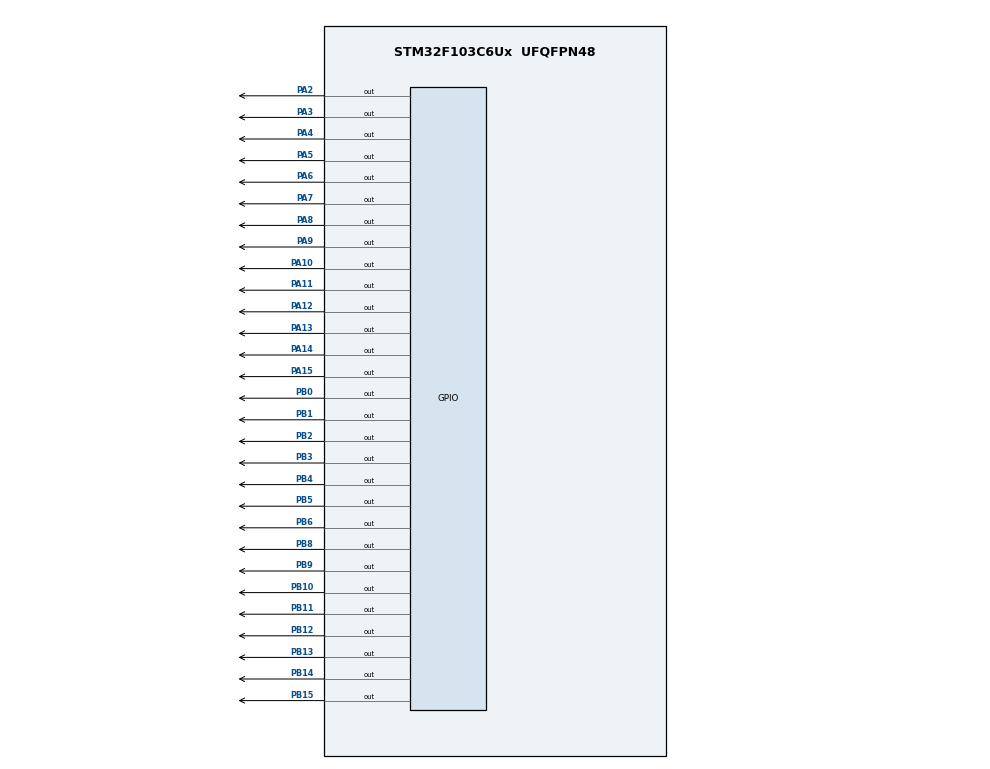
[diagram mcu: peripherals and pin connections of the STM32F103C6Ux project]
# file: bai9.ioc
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Mcu.Family=STM32F1
Mcu.Name=STM32F103C6Ux
Mcu.Package=UFQFPN48
NVIC.PriorityGroup=NVIC_PRIORITYGROUP_4
NVIC.TIM2_IRQn=true\:0\:0\:false\:false\:true\:true\:true
PA10.Signal=GPIO_Output
PA11.Signal=GPIO_Output
PA12.Signal=GPIO_Output
PA13.Signal=GPIO_Output
PA14.Signal=GPIO_Output
PA15.Signal=GPIO_Output
PA2.Signal=GPIO_Output
PA3.Signal=GPIO_Output
PA4.Signal=GPIO_Output
PA5.Signal=GPIO_Output
PA6.Signal=GPIO_Output
PA7.Signal=GPIO_Output
PA8.Signal=GPIO_Output
PA9.Signal=GPIO_Output
PB0.Signal=GPIO_Output
PB1.Signal=GPIO_Output
PB10.Signal=GPIO_Output
PB11.Signal=GPIO_Output
PB12.Signal=GPIO_Output
PB13.Signal=GPIO_Output
PB14.Signal=GPIO_Output
PB15.Signal=GPIO_Output
PB2.Signal=GPIO_Output
PB3.Signal=GPIO_Output
PB4.Signal=GPIO_Output
PB5.Signal=GPIO_Output
PB6.Signal=GPIO_Output
PB8.Signal=GPIO_Output
PB9.Signal=GPIO_Output
ProjectManager.HeapSize=0x200
ProjectManager.StackSize=0x400
ProjectManager.TargetToolchain=STM32CubeIDE
RCC.APB1Freq_Value=8000000
RCC.APB2Freq_Value=8000000
TIM2.Period=9
TIM2.Prescaler=7999
VP_SYS_VS_ND.Mode=No_Debug
VP_TIM2_VS_ClockSourceINT.Mode=Internal
board=custom

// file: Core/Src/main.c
/* USER CODE BEGIN Header */
/**
  ******************************************************************************
  * @file           : main.c
  * @brief          : Main program body
  ******************************************************************************
  * @attention
  *
  * <h2><center>&copy; Copyright (c) 2026 STMicroelectronics.
  * All rights reserved.</center></h2>
  *
  * This software component is licensed by ST under BSD 3-Clause license,
  * the "License"; You may not use this file except in compliance with the
  * License. You may obtain a copy of the License at:
  *                        opensource.org/licenses/BSD-3-Clause
  *
  ******************************************************************************
  */
/* USER CODE END Header */
#include "main.h"

TIM_HandleTypeDef htim2;

void SystemClock_Config(void);
static void MX_GPIO_Init(void);
static void MX_TIM2_Init(void);

/* USER CODE BEGIN 0 */
const int MAX_LED_MATRIX = 8;

int index_led_matrix = 0;

uint8_t matrix_buffer[8] = {
		 0x00,
		 0x42,
		 0x42,
		 0x42,
		 0x7E,
		 0x42,
		 0x42,
		 0x3C
};

uint8_t matrix_A[8] = {
    0x00,
    0x42,
    0x42,
    0x42,
    0x7E,
    0x42,
    0x42,
    0x3C
};

uint16_t EN_PINS[8] = {
    GPIO_PIN_2,   // ENM0
    GPIO_PIN_3,   // ENM1
    GPIO_PIN_10,  // ENM2
    GPIO_PIN_11,  // ENM3
    GPIO_PIN_12,  // ENM4
    GPIO_PIN_13,  // ENM5
    GPIO_PIN_14,  // ENM6
    GPIO_PIN_15   // ENM7
};

void setRows(uint8_t data)
{
    HAL_GPIO_WritePin(GPIOB, GPIO_PIN_8,
        (data & 0x01) ? GPIO_PIN_SET : GPIO_PIN_RESET);

    HAL_GPIO_WritePin(GPIOB, GPIO_PIN_9,
        (data & 0x02) ? GPIO_PIN_SET : GPIO_PIN_RESET);

    HAL_GPIO_WritePin(GPIOB, GPIO_PIN_10,
        (data & 0x04) ? GPIO_PIN_SET : GPIO_PIN_RESET);

    HAL_GPIO_WritePin(GPIOB, GPIO_PIN_11,
        (data & 0x08) ? GPIO_PIN_SET : GPIO_PIN_RESET);

    HAL_GPIO_WritePin(GPIOB, GPIO_PIN_12,
        (data & 0x10) ? GPIO_PIN_SET : GPIO_PIN_RESET);

    HAL_GPIO_WritePin(GPIOB, GPIO_PIN_13,
        (data & 0x20) ? GPIO_PIN_SET : GPIO_PIN_RESET);

    HAL_GPIO_WritePin(GPIOB, GPIO_PIN_14,
        (data & 0x40) ? GPIO_PIN_SET : GPIO_PIN_RESET);

    HAL_GPIO_WritePin(GPIOB, GPIO_PIN_15,
        (data & 0x80) ? GPIO_PIN_SET : GPIO_PIN_RESET);
}

void updateLEDMatrix(int index)
{
    // Turn off all columns
    for (int i = 0; i < 8; i++)
    {
        HAL_GPIO_WritePin(GPIOA, EN_PINS[i], GPIO_PIN_RESET);
    }

    // Output data to ROW0 - ROW7
    GPIOB->ODR = (GPIOB->ODR & 0x00FF)
               | ((uint16_t)matrix_buffer[index] << 8);

    // Enable selected column
    HAL_GPIO_WritePin(GPIOA, EN_PINS[index], GPIO_PIN_SET);
}
/* USER CODE END 0 */

int main(void)
{

  /* MCU Configuration--------------------------------------------------------*/

  /* Reset of all peripherals, Initializes the Flash interface and the Systick. */
  HAL_Init();

  /* Configure the system clock */
  SystemClock_Config();

  /* Initialize all configured peripherals */
  MX_GPIO_Init();
  MX_TIM2_Init();

  /* Infinite loop */
  /* USER CODE BEGIN WHILE */
  while (1)
  {
	  for (int shift = 0; shift <= 6; shift++)
	      {
	          // Tạo frame hiện tại
	          for (int col = 0; col < 8; col++)
	          {
	        	  matrix_buffer[col] = matrix_A[col] << shift;
	          }

	          // Hiển thị frame trong một khoảng thời gian
	          uint32_t start = HAL_GetTick();

	          while (HAL_GetTick() - start < 150)
	          {
	              updateLEDMatrix(index_led_matrix);

	              HAL_Delay(2);

	              index_led_matrix++;

	              if (index_led_matrix >= 8)
	              {
	                  index_led_matrix = 0;
	              }
	          }
	      }
    /* USER CODE END WHILE */

  }
}

void SystemClock_Config(void)
{
  RCC_OscInitTypeDef RCC_OscInitStruct = {0};
  RCC_ClkInitTypeDef RCC_ClkInitStruct = {0};

  /** Initializes the RCC Oscillators according to the specified parameters
  * in the RCC_OscInitTypeDef structure.
  */
  RCC_OscInitStruct.OscillatorType = RCC_OSCILLATORTYPE_HSI;
  RCC_OscInitStruct.HSIState = RCC_HSI_ON;
  RCC_OscInitStruct.HSICalibrationValue = RCC_HSICALIBRATION_DEFAULT;
  RCC_OscInitStruct.PLL.PLLState = RCC_PLL_NONE;
  if (HAL_RCC_OscConfig(&RCC_OscInitStruct) != HAL_OK)
  {
    Error_Handler();
  }
  /** Initializes the CPU, AHB and APB buses clocks
  */
  RCC_ClkInitStruct.ClockType = RCC_CLOCKTYPE_HCLK|RCC_CLOCKTYPE_SYSCLK
                              |RCC_CLOCKTYPE_PCLK1|RCC_CLOCKTYPE_PCLK2;
  RCC_ClkInitStruct.SYSCLKSource = RCC_SYSCLKSOURCE_HSI;
  RCC_ClkInitStruct.AHBCLKDivider = RCC_SYSCLK_DIV1;
  RCC_ClkInitStruct.APB1CLKDivider = RCC_HCLK_DIV1;
  RCC_ClkInitStruct.APB2CLKDivider = RCC_HCLK_DIV1;

  if (HAL_RCC_ClockConfig(&RCC_ClkInitStruct, FLASH_LATENCY_0) != HAL_OK)
  {
    Error_Handler();
  }
}

static void MX_TIM2_Init(void)
{

  TIM_ClockConfigTypeDef sClockSourceConfig = {0};
  TIM_MasterConfigTypeDef sMasterConfig = {0};

  htim2.Instance = TIM2;
  htim2.Init.Prescaler = 7999;
  htim2.Init.CounterMode = TIM_COUNTERMODE_UP;
  htim2.Init.Period = 9;
  htim2.Init.ClockDivision = TIM_CLOCKDIVISION_DIV1;
  htim2.Init.AutoReloadPreload = TIM_AUTORELOAD_PRELOAD_DISABLE;
  if (HAL_TIM_Base_Init(&htim2) != HAL_OK)
  {
    Error_Handler();
  }
  sClockSourceConfig.ClockSource = TIM_CLOCKSOURCE_INTERNAL;
  if (HAL_TIM_ConfigClockSource(&htim2, &sClockSourceConfig) != HAL_OK)
  {
    Error_Handler();
  }
  sMasterConfig.MasterOutputTrigger = TIM_TRGO_RESET;
  sMasterConfig.MasterSlaveMode = TIM_MASTERSLAVEMODE_DISABLE;
  if (HAL_TIMEx_MasterConfigSynchronization(&htim2, &sMasterConfig) != HAL_OK)
  {
    Error_Handler();
  }

}

static void MX_GPIO_Init(void)
{
  GPIO_InitTypeDef GPIO_InitStruct = {0};

  /* GPIO Ports Clock Enable */
  __HAL_RCC_GPIOA_CLK_ENABLE();
  __HAL_RCC_GPIOB_CLK_ENABLE();

  /*Configure GPIO pin Output Level */
  HAL_GPIO_WritePin(GPIOA, GPIO_PIN_2|GPIO_PIN_3|GPIO_PIN_4|GPIO_PIN_5
                          |GPIO_PIN_6|GPIO_PIN_7|GPIO_PIN_8|GPIO_PIN_9
                          |GPIO_PIN_10|GPIO_PIN_11|GPIO_PIN_12|GPIO_PIN_13
                          |GPIO_PIN_14|GPIO_PIN_15, GPIO_PIN_RESET);

  /*Configure GPIO pin Output Level */
  HAL_GPIO_WritePin(GPIOB, GPIO_PIN_0|GPIO_PIN_1|GPIO_PIN_2|GPIO_PIN_10
                          |GPIO_PIN_11|GPIO_PIN_12|GPIO_PIN_13|GPIO_PIN_14
                          |GPIO_PIN_15|GPIO_PIN_3|GPIO_PIN_4|GPIO_PIN_5
                          |GPIO_PIN_6|GPIO_PIN_8|GPIO_PIN_9, GPIO_PIN_RESET);

  /*Configure GPIO pins : PA2 PA3 PA4 PA5
                           PA6 PA7 PA8 PA9
                           PA10 PA11 PA12 PA13
                           PA14 PA15 */
  GPIO_InitStruct.Pin = GPIO_PIN_2|GPIO_PIN_3|GPIO_PIN_4|GPIO_PIN_5
                          |GPIO_PIN_6|GPIO_PIN_7|GPIO_PIN_8|GPIO_PIN_9
                          |GPIO_PIN_10|GPIO_PIN_11|GPIO_PIN_12|GPIO_PIN_13
                          |GPIO_PIN_14|GPIO_PIN_15;
  GPIO_InitStruct.Mode = GPIO_MODE_OUTPUT_PP;
  GPIO_InitStruct.Pull = GPIO_NOPULL;
  GPIO_InitStruct.Speed = GPIO_SPEED_FREQ_LOW;
  HAL_GPIO_Init(GPIOA, &GPIO_InitStruct);

  /*Configure GPIO pins : PB0 PB1 PB2 PB10
                           PB11 PB12 PB13 PB14
                           PB15 PB3 PB4 PB5
                           PB6 PB8 PB9 */
  GPIO_InitStruct.Pin = GPIO_PIN_0|GPIO_PIN_1|GPIO_PIN_2|GPIO_PIN_10
                          |GPIO_PIN_11|GPIO_PIN_12|GPIO_PIN_13|GPIO_PIN_14
                          |GPIO_PIN_15|GPIO_PIN_3|GPIO_PIN_4|GPIO_PIN_5
                          |GPIO_PIN_6|GPIO_PIN_8|GPIO_PIN_9;
  GPIO_InitStruct.Mode = GPIO_MODE_OUTPUT_PP;
  GPIO_InitStruct.Pull = GPIO_NOPULL;
  GPIO_InitStruct.Speed = GPIO_SPEED_FREQ_LOW;
  HAL_GPIO_Init(GPIOB, &GPIO_InitStruct);

}

void Error_Handler(void)
{
  __disable_irq();
  while (1)
  {
  }
}

/************************ (C) COPYRIGHT STMicroelectronics *****END OF FILE****/
